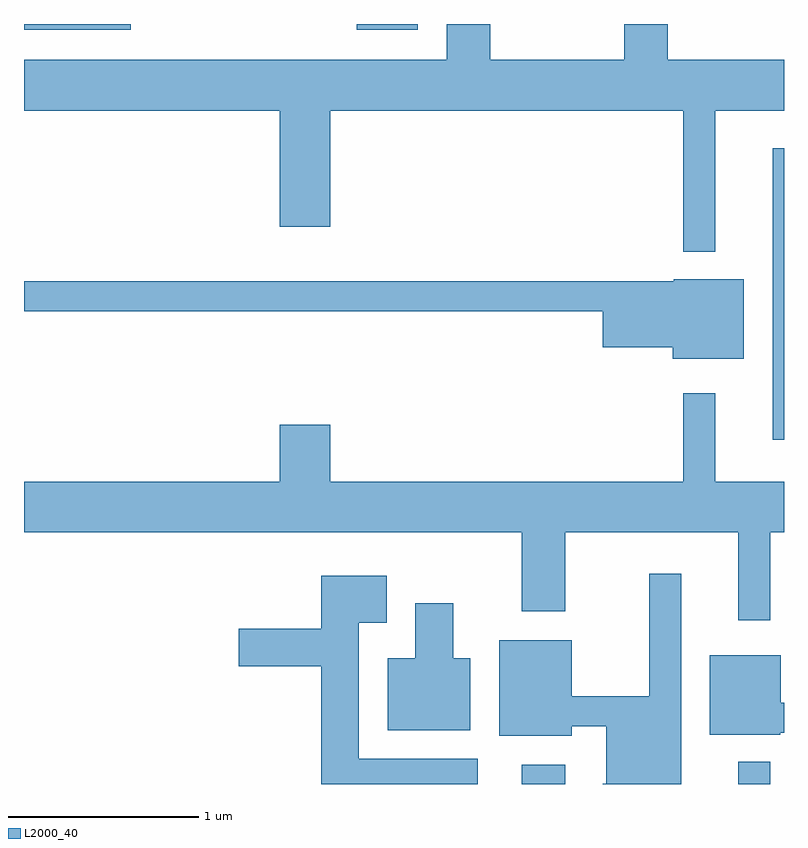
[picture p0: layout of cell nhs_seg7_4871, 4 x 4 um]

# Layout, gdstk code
import gdstk
lib = gdstk.Library(unit=1e-6, precision=1e-09)
def R(c, l, rs):  # rectangles x0, y0, x1, y1
    for r in rs: c.add(gdstk.rectangle(r[:2], r[2:], *l))
def P(c, l, *ps):  # polygons
    for p in ps: c.add(gdstk.Polygon(p, *l))
L2000_40 = (2000, 40)

nhs_seg7_4871 = lib.new_cell('nhs_seg7_4871')
R(nhs_seg7_4871, L2000_40, [(336.231,1786.252,336.459,1786.354), (337.371,1786.252,337.539,1786.368), (337.551,1788.063,337.611,1789.599), (333.611,1790.221,334.174,1790.252), (335.363,1790.221,335.684,1790.252)])
P(nhs_seg7_4871, L2000_40, [(337.249,1789.796),(337.611,1789.796),(337.611,1790.064),(336.999,1790.064),(336.999,1790.252),(336.771,1790.252),(336.771,1790.064),(336.064,1790.064),(336.064,1790.252),(335.836,1790.252),(335.836,1790.064),(333.611,1790.064),(333.611,1789.796),(334.956,1789.796),(334.956,1789.186),(335.224,1789.186),(335.224,1789.796),(337.081,1789.796),(337.081,1789.053),(337.249,1789.053)],
  [(337.399,1788.909),(337.03,1788.909),(337.03,1788.899),(333.611,1788.899),(333.611,1788.741),(336.656,1788.741),(336.656,1788.551),(337.026,1788.551),(337.026,1788.491),(337.399,1788.491)],
  [(337.539,1787.576),(337.611,1787.576),(337.611,1787.844),(337.249,1787.844),(337.249,1788.308),(337.081,1788.308),(337.081,1787.844),(335.224,1787.844),(335.224,1788.144),(334.956,1788.144),(334.956,1787.844),(333.611,1787.844),(333.611,1787.576),(336.231,1787.576),(336.231,1787.161),(336.459,1787.161),(336.459,1787.576),(337.371,1787.576),(337.371,1787.113),(337.539,1787.113)],
  [(337.069,1787.358),(336.901,1787.358),(336.901,1786.714),(336.494,1786.714),(336.494,1787.009),(336.111,1787.009),(336.111,1786.506),(336.494,1786.506),(336.494,1786.556),(336.676,1786.556),(336.676,1786.254),(336.656,1786.254),(336.656,1786.252),(337.069,1786.252)],
  [(335.999,1786.384),(335.374,1786.384),(335.374,1787.101),(335.519,1787.101),(335.519,1787.349),(335.176,1787.349),(335.176,1787.069),(334.741,1787.069),(334.741,1786.871),(335.176,1786.871),(335.176,1786.252),(335.999,1786.252)],
  [(335.959,1786.914),(335.869,1786.914),(335.869,1787.204),(335.671,1787.204),(335.671,1786.914),(335.526,1786.914),(335.526,1786.536),(335.959,1786.536)],
  [(337.59,1786.521),(337.611,1786.521),(337.611,1786.679),(337.594,1786.679),(337.594,1786.929),(337.221,1786.929),(337.221,1786.511),(337.59,1786.511)])

lib.write_gds('nhs_seg7_4871.gds')
